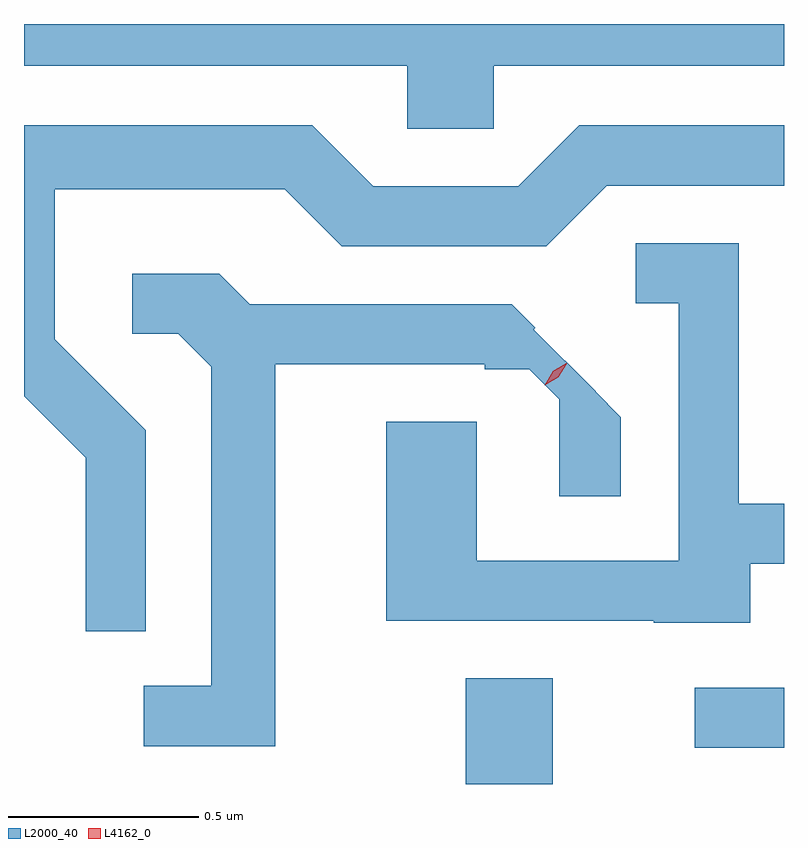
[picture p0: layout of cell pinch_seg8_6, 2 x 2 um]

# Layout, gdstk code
import gdstk
lib = gdstk.Library(unit=1e-6, precision=1e-09)
def R(c, l, rs):  # rectangles x0, y0, x1, y1
    for r in rs: c.add(gdstk.rectangle(r[:2], r[2:], *l))
def P(c, l, *ps):  # polygons
    for p in ps: c.add(gdstk.Polygon(p, *l))
L2000_40 = (2000, 40)
L4162_0 = (4162, 0)

pinch_seg8_6 = lib.new_cell('pinch_seg8_6')
R(pinch_seg8_6, L2000_40, [(1767.411,1867.826,1767.639,1868.104), (1768.013,1867.921,1768.248,1868.079)])
P(pinch_seg8_6, L2000_40, [(1767.484,1869.716),(1768.248,1869.716),(1768.248,1869.826),(1766.248,1869.826),(1766.248,1869.716),(1767.256,1869.716),(1767.256,1869.551),(1767.484,1869.551)],
  [(1766.569,1868.757),(1766.329,1868.997),(1766.329,1869.391),(1766.934,1869.391),(1767.084,1869.241),(1767.622,1869.241),(1767.782,1869.401),(1768.248,1869.401),(1768.248,1869.559),(1767.709,1869.559),(1767.549,1869.399),(1767.167,1869.399),(1767.007,1869.559),(1766.248,1869.559),(1766.248,1868.847),(1766.411,1868.684),(1766.411,1868.228),(1766.569,1868.228)],
  [(1768.159,1868.406),(1768.248,1868.406),(1768.248,1868.564),(1768.129,1868.564),(1768.129,1869.249),(1767.858,1869.249),(1767.858,1869.091),(1767.971,1869.091),(1767.971,1868.414),(1767.439,1868.414),(1767.439,1868.779),(1767.201,1868.779),(1767.201,1868.256),(1767.905,1868.256),(1767.905,1868.251),(1768.159,1868.251)],
  [(1766.909,1868.931),(1767.46,1868.931),(1767.46,1868.918),(1767.578,1868.918),(1767.657,1868.839),(1767.657,1868.583),(1767.819,1868.583),(1767.819,1868.791),(1767.751,1868.859),(1767.752,1868.86),(1767.59,1869.022),(1767.594,1869.027),(1767.532,1869.089),(1766.842,1869.089),(1766.762,1869.169),(1766.533,1869.169),(1766.533,1869.011),(1766.654,1869.011),(1766.741,1868.924),(1766.741,1868.084),(1766.563,1868.084),(1766.563,1867.926),(1766.909,1867.926)])
P(pinch_seg8_6, L4162_0, [(1767.619,1868.876),(1767.619,1868.876),(1767.64,1868.911),(1767.675,1868.933),(1767.676,1868.933),(1767.676,1868.932),(1767.654,1868.897),(1767.619,1868.876)],
  [(1767.623,1868.881),(1767.623,1868.881),(1767.639,1868.912),(1767.669,1868.929),(1767.67,1868.929),(1767.67,1868.928),(1767.654,1868.898),(1767.624,1868.881)])

lib.write_gds('pinch_seg8_6.gds')
